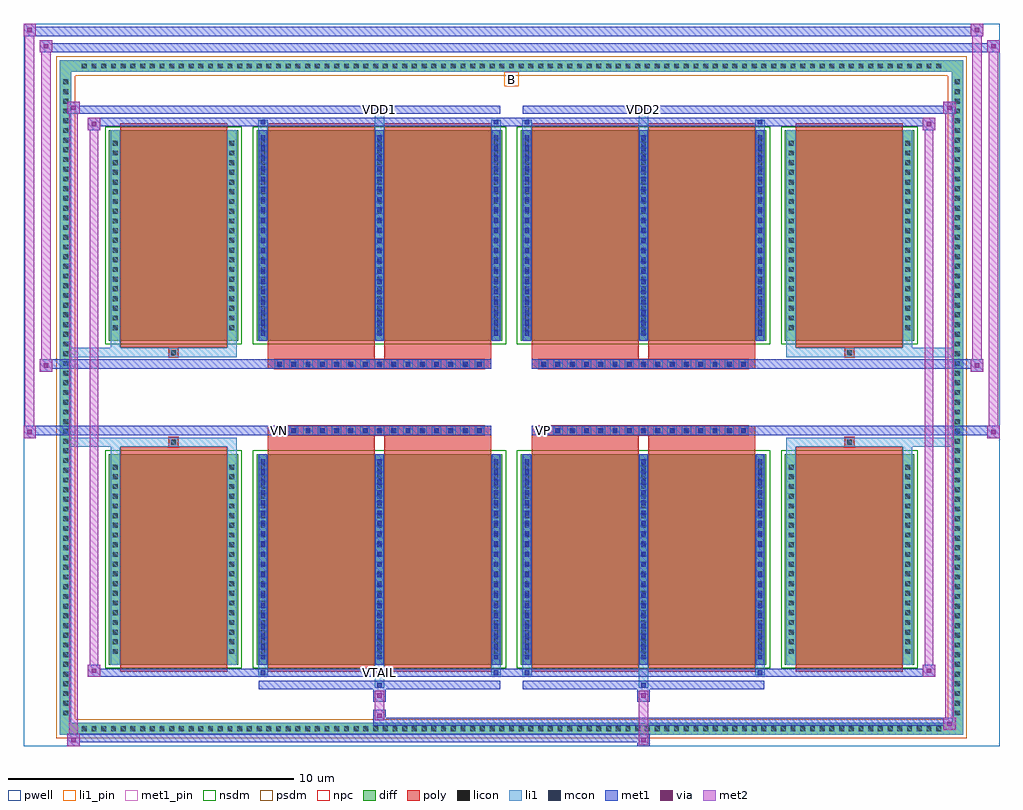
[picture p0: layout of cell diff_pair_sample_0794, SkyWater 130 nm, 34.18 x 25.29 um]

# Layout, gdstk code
import gdstk
lib = gdstk.Library(unit=1e-6, precision=5e-09)
def R(c, l, rs):  # rectangles x0, y0, x1, y1
    for r in rs: c.add(gdstk.rectangle(r[:2], r[2:], *l))
def A(c, l, x, y, w, h, nx, ny, dx, dy):  # array of equal rectangles
    R(c, l, [(x+i*dx, y+j*dy, x+i*dx+w, y+j*dy+h) for i in range(nx) for j in range(ny)])
def P(c, l, *ps):  # polygons
    for p in ps: c.add(gdstk.Polygon(p, *l))
pwell = (64, 44)
diff = (65, 20)
poly = (66, 20)
licon = (66, 44)
li1_pin = (67, 16)
li1 = (67, 20)
mcon = (67, 44)
met1_pin = (68, 16)
met1 = (68, 20)
via = (68, 44)
met2 = (69, 20)
nsdm = (93, 44)
psdm = (94, 20)
npc = (95, 20)

diff_pair_sample_0794 = lib.new_cell('diff_pair_sample_0794')
R(diff_pair_sample_0794, pwell, [(-17.09,-12.21,17.09,13.08), (-14.41,-10.4,-0.01,-0.8), (0.01,-10.4,14.41,-0.8), (-14.41,0.8,-0.01,10.4), (0.01,0.8,14.41,10.4)])
A(diff_pair_sample_0794, diff, -15.165, -11.81, 0.41, 0.41, 89, 2, 0.34, 23.21)
A(diff_pair_sample_0794, diff, -15.82, -11.255, 0.41, 0.41, 1, 66, 0, 0.34)
A(diff_pair_sample_0794, diff, 15.41, -11.255, 0.41, 0.41, 1, 66, 0, 0.34)
R(diff_pair_sample_0794, diff, [(-15.165,-11.81,15.165,-11.4), (-15.82,-11.255,-15.41,11.255), (15.41,-11.255,15.82,11.255), (-14.1,-9.355,-9.57,-1.985), (-8.93,-9.355,-0.32,-1.985), (0.32,-9.355,8.93,-1.985), (9.57,-9.355,14.1,-1.985), (-14.1,1.985,-9.57,9.355), (-8.93,1.985,-0.32,9.355), (0.32,1.985,8.93,9.355), (9.57,1.985,14.1,9.355), (-15.165,11.4,15.165,11.81)])
P(diff_pair_sample_0794, diff, [(15.82,11.81),(-15.82,11.81),(-15.82,-11.4),(-15.41,-11.4),(-15.41,11.4),(15.41,11.4),(15.41,-11.4),(-15.41,-11.4),(-15.82,-11.4),(-15.82,-11.81),(15.82,-11.81)])
A(diff_pair_sample_0794, poly, -8.29, -1.33, 0.33, 0.33, 15, 2, 0.5, 2.33)
A(diff_pair_sample_0794, poly, 0.96, -1.33, 0.33, 0.33, 15, 2, 0.5, 2.33)
R(diff_pair_sample_0794, poly, [(-13.71,-9.605,-9.96,-1.735), (-8.54,-9.605,-4.79,-1.735), (-4.46,-9.605,-0.71,-1.735), (0.71,-9.605,4.46,-1.735), (4.79,-9.605,8.54,-1.735), (9.96,-9.605,13.71,-1.735), (-12,-1.735,-11.67,-1.405), (-12,-1.735,-11.67,-1.405), (-8.54,-1.735,-4.79,-1.33), (-4.46,-1.735,-0.71,-1.33), (0.71,-1.735,4.46,-1.33), (4.79,-1.735,8.54,-1.33), (11.67,-1.735,12,-1.405), (11.67,-1.735,12,-1.405), (-8.54,-1.33,-0.71,-1), (0.71,-1.33,8.54,-1), (-8.54,1,-0.71,1.33), (0.71,1,8.54,1.33), (-8.54,1.33,-4.79,1.735), (-4.46,1.33,-0.71,1.735), (0.71,1.33,4.46,1.735), (4.79,1.33,8.54,1.735), (-12,1.405,-11.67,1.735), (-12,1.405,-11.67,1.735), (11.67,1.405,12,1.735), (11.67,1.405,12,1.735), (-13.71,1.735,-9.96,9.605), (-8.54,1.735,-4.79,9.605), (-4.46,1.735,-0.71,9.605), (0.71,1.735,4.46,9.605), (4.79,1.735,8.54,9.605), (9.96,1.735,13.71,9.605)])
A(diff_pair_sample_0794, licon, -15.045, -11.69, 0.17, 0.17, 89, 2, 0.34, 23.21)
A(diff_pair_sample_0794, licon, -15.7, -11.135, 0.17, 0.17, 1, 66, 0, 0.34)
A(diff_pair_sample_0794, licon, 15.53, -11.135, 0.17, 0.17, 1, 66, 0, 0.34)
A(diff_pair_sample_0794, licon, -13.96, -8.985, 0.17, 0.17, 1, 20, 0, 0.34)
A(diff_pair_sample_0794, licon, -9.88, -8.985, 0.17, 0.17, 1, 20, 0, 0.34)
A(diff_pair_sample_0794, licon, -8.79, -8.985, 0.17, 0.17, 3, 20, 4.08, 0.34)
A(diff_pair_sample_0794, licon, 0.46, -8.985, 0.17, 0.17, 3, 20, 4.08, 0.34)
A(diff_pair_sample_0794, licon, 9.71, -8.985, 0.17, 0.17, 1, 20, 0, 0.34)
A(diff_pair_sample_0794, licon, 13.79, -8.985, 0.17, 0.17, 1, 20, 0, 0.34)
A(diff_pair_sample_0794, licon, -8.21, -1.25, 0.17, 0.17, 15, 2, 0.5, 2.33)
A(diff_pair_sample_0794, licon, 1.04, -1.25, 0.17, 0.17, 15, 2, 0.5, 2.33)
A(diff_pair_sample_0794, licon, -13.96, 2.355, 0.17, 0.17, 1, 20, 0, 0.34)
A(diff_pair_sample_0794, licon, -9.88, 2.355, 0.17, 0.17, 1, 20, 0, 0.34)
A(diff_pair_sample_0794, licon, -8.79, 2.355, 0.17, 0.17, 3, 20, 4.08, 0.34)
A(diff_pair_sample_0794, licon, 0.46, 2.355, 0.17, 0.17, 3, 20, 4.08, 0.34)
A(diff_pair_sample_0794, licon, 9.71, 2.355, 0.17, 0.17, 1, 20, 0, 0.34)
A(diff_pair_sample_0794, licon, 13.79, 2.355, 0.17, 0.17, 1, 20, 0, 0.34)
R(diff_pair_sample_0794, licon, [(-11.92,-1.655,-11.75,-1.485), (11.75,-1.655,11.92,-1.485), (-11.92,1.485,-11.75,1.655), (11.75,1.485,11.92,1.655)])
R(diff_pair_sample_0794, li1_pin, [(-0.25,10.9,0.25,11.4)])
A(diff_pair_sample_0794, li1, -15.125, -11.77, 0.33, 0.33, 89, 2, 0.34, 23.21)
A(diff_pair_sample_0794, li1, -15.78, -11.215, 0.33, 0.33, 1, 66, 0, 0.34)
A(diff_pair_sample_0794, li1, 15.45, -11.215, 0.33, 0.33, 1, 66, 0, 0.34)
A(diff_pair_sample_0794, li1, -8.87, -9.355, 0.33, 7.37, 3, 2, 4.08, 11.34)
A(diff_pair_sample_0794, li1, 0.38, -9.355, 0.33, 7.37, 3, 2, 4.08, 11.34)
A(diff_pair_sample_0794, li1, -8.79, -9.175, 0.17, 0.17, 3, 20, 4.08, 0.36)
A(diff_pair_sample_0794, li1, -8.79, -9.175, 0.17, 7.01, 3, 2, 4.08, 11.34)
A(diff_pair_sample_0794, li1, 0.46, -9.175, 0.17, 0.17, 3, 20, 4.08, 0.36)
A(diff_pair_sample_0794, li1, 0.46, -9.175, 0.17, 7.01, 3, 2, 4.08, 11.34)
A(diff_pair_sample_0794, li1, -14.04, -9.065, 0.33, 0.33, 1, 20, 0, 0.34)
A(diff_pair_sample_0794, li1, -9.96, -9.065, 0.33, 0.33, 1, 20, 0, 0.34)
A(diff_pair_sample_0794, li1, -8.87, -9.065, 0.33, 0.33, 3, 20, 4.08, 0.34)
A(diff_pair_sample_0794, li1, 0.38, -9.065, 0.33, 0.33, 3, 20, 4.08, 0.34)
A(diff_pair_sample_0794, li1, 9.63, -9.065, 0.33, 0.33, 1, 20, 0, 0.34)
A(diff_pair_sample_0794, li1, 13.71, -9.065, 0.33, 0.33, 1, 20, 0, 0.34)
A(diff_pair_sample_0794, li1, -8.29, -1.33, 0.33, 0.33, 15, 2, 0.5, 2.33)
A(diff_pair_sample_0794, li1, 0.96, -1.33, 0.33, 0.33, 15, 2, 0.5, 2.33)
A(diff_pair_sample_0794, li1, -8.79, 2.165, 0.17, 0.17, 3, 20, 4.08, 0.36)
A(diff_pair_sample_0794, li1, 0.46, 2.165, 0.17, 0.17, 3, 20, 4.08, 0.36)
A(diff_pair_sample_0794, li1, -14.04, 2.275, 0.33, 0.33, 1, 20, 0, 0.34)
A(diff_pair_sample_0794, li1, -9.96, 2.275, 0.33, 0.33, 1, 20, 0, 0.34)
A(diff_pair_sample_0794, li1, -8.87, 2.275, 0.33, 0.33, 3, 20, 4.08, 0.34)
A(diff_pair_sample_0794, li1, 0.38, 2.275, 0.33, 0.33, 3, 20, 4.08, 0.34)
A(diff_pair_sample_0794, li1, 9.63, 2.275, 0.33, 0.33, 1, 20, 0, 0.34)
A(diff_pair_sample_0794, li1, 13.71, 2.275, 0.33, 0.33, 1, 20, 0, 0.34)
R(diff_pair_sample_0794, li1, [(-15.82,-11.81,-15.41,-11.4), (-15.82,-11.81,-15.41,-11.4), (-15.41,-11.81,15.41,-11.4), (15.41,-11.81,15.82,-11.4), (15.41,-11.81,15.82,-11.4), (-15.82,-11.4,-15.41,11.4), (15.41,-11.4,15.82,11.4), (-4.79,-10.16,-4.46,-9.355), (-4.71,-10.16,-4.54,-9.99), (4.46,-10.16,4.79,-9.355), (4.54,-10.16,4.71,-9.99), (-8.87,-9.73,-8.54,-9.355), (-8.79,-9.73,-8.62,-9.56), (-0.71,-9.73,-0.38,-9.355), (-0.63,-9.73,-0.46,-9.56), (0.38,-9.73,0.71,-9.355), (0.46,-9.73,0.63,-9.56), (8.54,-9.73,8.87,-9.355), (8.62,-9.73,8.79,-9.56), (-14.04,-9.355,-13.71,-1.985), (-9.96,-9.355,-9.63,-1.985), (9.63,-9.355,9.96,-1.985), (13.71,-9.355,14.04,-1.985), (-14.04,-1.985,-13.71,-1.405), (-9.96,-1.985,-9.63,-1.405), (9.63,-1.985,9.96,-1.405), (13.71,-1.985,14.04,-1.405), (-15.82,-1.735,-12,-1.405), (-14.04,-1.735,-12,-1.405), (-12,-1.735,-11.67,-1.405), (-11.67,-1.735,-9.63,-1.405), (9.63,-1.735,11.67,-1.405), (11.67,-1.735,12,-1.405), (11.67,-1.735,15.82,-1.405), (12,-1.735,14.04,-1.405), (-15.82,1.405,-12,1.735), (-14.04,1.405,-12,1.735), (-14.04,1.405,-13.71,1.985), (-12,1.405,-11.67,1.735), (-11.67,1.405,-9.63,1.735), (-9.96,1.405,-9.63,1.985), (9.63,1.405,11.67,1.735), (9.63,1.405,9.96,1.985), (11.67,1.405,12,1.735), (11.67,1.405,15.82,1.735), (12,1.405,14.04,1.735), (13.71,1.405,14.04,1.985), (-14.04,1.985,-13.71,9.355), (-9.96,1.985,-9.63,9.355), (9.63,1.985,9.96,9.355), (13.71,1.985,14.04,9.355), (-8.87,9.355,-8.54,9.73), (-4.79,9.355,-4.46,10.16), (-0.71,9.355,-0.38,9.73), (0.38,9.355,0.71,9.73), (4.46,9.355,4.79,10.16), (8.54,9.355,8.87,9.73), (-8.79,9.56,-8.62,9.73), (-0.63,9.56,-0.46,9.73), (0.46,9.56,0.63,9.73), (8.62,9.56,8.79,9.73), (-4.71,9.99,-4.54,10.16), (4.54,9.99,4.71,10.16), (-15.82,11.4,-15.41,11.81), (-15.82,11.4,-15.41,11.81), (-15.41,11.4,15.41,11.81), (15.41,11.4,15.82,11.81), (15.41,11.4,15.82,11.81)])
A(diff_pair_sample_0794, mcon, -8.79, -9.175, 0.17, 0.17, 3, 20, 4.08, 0.36)
A(diff_pair_sample_0794, mcon, 0.46, -9.175, 0.17, 0.17, 3, 20, 4.08, 0.36)
A(diff_pair_sample_0794, mcon, -8.21, -1.25, 0.17, 0.17, 15, 2, 0.5, 2.33)
A(diff_pair_sample_0794, mcon, 1.04, -1.25, 0.17, 0.17, 15, 2, 0.5, 2.33)
A(diff_pair_sample_0794, mcon, -8.79, 2.165, 0.17, 0.17, 3, 20, 4.08, 0.36)
A(diff_pair_sample_0794, mcon, 0.46, 2.165, 0.17, 0.17, 3, 20, 4.08, 0.36)
R(diff_pair_sample_0794, mcon, [(-4.71,-10.16,-4.54,-9.99), (4.54,-10.16,4.71,-9.99), (-8.79,-9.73,-8.62,-9.56), (-0.63,-9.73,-0.46,-9.56), (0.46,-9.73,0.63,-9.56), (8.62,-9.73,8.79,-9.56), (-8.79,9.56,-8.62,9.73), (-0.63,9.56,-0.46,9.73), (0.46,9.56,0.63,9.73), (8.62,9.56,8.79,9.73), (-4.71,9.99,-4.54,10.16), (4.54,9.99,4.71,10.16)])
R(diff_pair_sample_0794, met1_pin, [(-4.76,-9.77,-4.49,-9.5), (-8.26,-1.29,-7.99,-1.02), (0.99,-1.29,1.26,-1.02), (-4.76,9.95,-4.49,10.22), (4.49,9.95,4.76,10.22)])
A(diff_pair_sample_0794, met1, -8.85, -9.355, 0.29, 7.37, 3, 2, 4.08, 11.34)
A(diff_pair_sample_0794, met1, 0.4, -9.355, 0.29, 7.37, 3, 2, 4.08, 11.34)
A(diff_pair_sample_0794, met1, -8.85, -9.235, 0.29, 0.29, 3, 20, 4.08, 0.36)
A(diff_pair_sample_0794, met1, 0.4, -9.235, 0.29, 0.29, 3, 20, 4.08, 0.36)
A(diff_pair_sample_0794, met1, -8.27, -1.31, 0.29, 0.29, 15, 2, 0.5, 2.33)
A(diff_pair_sample_0794, met1, 0.98, -1.31, 0.29, 0.29, 15, 2, 0.5, 2.33)
A(diff_pair_sample_0794, met1, -8.85, 2.105, 0.29, 0.29, 3, 20, 4.08, 0.36)
A(diff_pair_sample_0794, met1, 0.4, 2.105, 0.29, 0.29, 3, 20, 4.08, 0.36)
R(diff_pair_sample_0794, met1, [(-15.55,-12.21,-15.12,-11.78), (4.41,-12.21,4.84,-11.78), (-15.55,-12.07,4.84,-11.78), (15.12,-11.64,15.55,-11.21), (-4.84,-11.5,15.55,-11.21), (-4.84,-11.36,-4.41,-10.93), (-4.84,-10.65,-4.41,-10.22), (4.41,-10.65,4.84,-10.22), (-8.85,-10.22,-0.4,-9.93), (-4.77,-10.22,-4.48,-9.93), (0.4,-10.22,8.85,-9.93), (4.48,-10.22,4.77,-9.93), (-14.84,-9.79,-14.41,-9.36), (-14.84,-9.79,-8.85,-9.5), (-8.85,-9.79,-8.56,-9.5), (-8.85,-9.79,-0.4,-9.5), (-0.69,-9.79,-0.4,-9.5), (-0.4,-9.79,0.4,-9.5), (0.4,-9.79,0.69,-9.5), (0.4,-9.79,8.85,-9.5), (8.56,-9.79,8.85,-9.5), (8.85,-9.79,14.84,-9.5), (14.41,-9.79,14.84,-9.36), (-17.09,-1.43,-16.66,-1), (16.66,-1.43,17.09,-1), (-17.09,-1.33,-0.71,-1), (-8.54,-1.33,-0.71,-1), (0.71,-1.33,8.54,-1), (0.71,-1.33,17.09,-1), (-16.52,0.9,-16.09,1.33), (16.09,0.9,16.52,1.33), (-16.52,1,-8.54,1.33), (-8.54,1,-0.71,1.33), (0.71,1,8.54,1.33), (8.54,1,16.52,1.33), (-14.84,9.36,-14.41,9.79), (14.41,9.36,14.84,9.79), (-14.84,9.5,-8.85,9.79), (-8.85,9.5,-8.56,9.79), (-8.85,9.5,-0.4,9.79), (-0.69,9.5,-0.4,9.79), (-0.4,9.5,0.4,9.79), (0.4,9.5,0.69,9.79), (0.4,9.5,8.85,9.79), (8.56,9.5,8.85,9.79), (8.85,9.5,14.84,9.79), (-15.55,9.93,-15.12,10.36), (-15.55,9.93,-8.85,10.22), (-8.85,9.93,-0.4,10.22), (-4.77,9.93,-4.48,10.22), (0.4,9.93,8.85,10.22), (4.48,9.93,4.77,10.22), (8.85,9.93,15.55,10.22), (15.12,9.93,15.55,10.36), (-16.52,12.08,-16.09,12.51), (-16.52,12.08,-14.41,12.41), (-14.41,12.08,14.41,12.41), (14.41,12.08,17.09,12.41), (16.66,12.08,17.09,12.51), (-17.09,12.65,-16.66,13.08), (-17.09,12.65,-14.41,12.98), (-14.41,12.65,14.41,12.98), (14.41,12.65,16.52,12.98), (16.09,12.65,16.52,13.08)])
R(diff_pair_sample_0794, via, [(-15.41,-12.07,-15.26,-11.92), (4.55,-12.07,4.7,-11.92), (15.26,-11.5,15.41,-11.35), (-4.7,-11.22,-4.55,-11.07), (-4.7,-10.51,-4.55,-10.36), (4.55,-10.51,4.7,-10.36), (-14.7,-9.65,-14.55,-9.5), (14.55,-9.65,14.7,-9.5), (-16.95,-1.29,-16.8,-1.14), (16.8,-1.29,16.95,-1.14), (-16.38,1.04,-16.23,1.19), (16.23,1.04,16.38,1.19), (-14.7,9.5,-14.55,9.65), (14.55,9.5,14.7,9.65), (-15.41,10.07,-15.26,10.22), (15.26,10.07,15.41,10.22), (-16.38,12.22,-16.23,12.37), (16.8,12.22,16.95,12.37), (-16.95,12.79,-16.8,12.94), (16.23,12.79,16.38,12.94)])
R(diff_pair_sample_0794, met2, [(-15.55,-12.21,-15.12,-11.78), (-15.48,-12.21,-15.19,10.36), (-15.19,-12.21,-15.12,-11.78), (-15.5,-12.16,-15.17,-11.83), (4.46,-12.16,4.79,-11.83), (4.46,-11.83,4.79,-10.6), (15.12,-11.64,15.55,-11.21), (15.19,-11.64,15.48,10.36), (15.48,-11.64,15.55,-11.21), (15.17,-11.59,15.5,-11.26), (-4.79,-11.31,-4.46,-10.98), (-4.79,-10.98,-4.46,-10.6), (-4.79,-10.6,-4.46,-10.27), (4.46,-10.6,4.79,-10.27), (-14.84,-9.79,-14.41,-9.36), (-14.77,-9.79,-14.48,9.79), (-14.48,-9.79,-14.41,-9.36), (14.41,-9.79,14.84,-9.36), (14.48,-9.79,14.77,9.79), (14.77,-9.79,14.84,-9.36), (-14.79,-9.74,-14.46,-9.41), (14.46,-9.74,14.79,-9.41), (-17.09,-1.43,-16.66,-1), (-17.04,-1.43,-16.71,13.08), (-16.71,-1.43,-16.66,-1), (16.66,-1.43,17.09,-1), (16.71,-1.43,17.04,12.51), (17.04,-1.43,17.09,-1), (-17.04,-1.38,-16.71,-1.05), (16.71,-1.38,17.04,-1.05), (-16.52,0.9,-16.09,1.33), (-16.47,0.9,-16.14,12.51), (-16.14,0.9,-16.09,1.33), (16.09,0.9,16.52,1.33), (16.14,0.9,16.47,13.08), (16.47,0.9,16.52,1.33), (-16.47,0.95,-16.14,1.28), (16.14,0.95,16.47,1.28), (-14.84,9.36,-14.41,9.79), (-14.48,9.36,-14.41,9.79), (14.41,9.36,14.84,9.79), (14.77,9.36,14.84,9.79), (-14.79,9.41,-14.46,9.74), (14.46,9.41,14.79,9.74), (-15.55,9.93,-15.12,10.36), (-15.19,9.93,-15.12,10.36), (15.12,9.93,15.55,10.36), (15.48,9.93,15.55,10.36), (-15.5,9.98,-15.17,10.31), (15.17,9.98,15.5,10.31), (-16.52,12.08,-16.09,12.51), (-16.14,12.08,-16.09,12.51), (16.66,12.08,17.09,12.51), (17.04,12.08,17.09,12.51), (-16.47,12.13,-16.14,12.46), (16.71,12.13,17.04,12.46), (-17.09,12.65,-16.66,13.08), (-16.71,12.65,-16.66,13.08), (16.09,12.65,16.52,13.08), (16.47,12.65,16.52,13.08), (-17.04,12.7,-16.71,13.03), (16.14,12.7,16.47,13.03)])
R(diff_pair_sample_0794, nsdm, [(-14.23,-9.485,-9.44,-1.855), (-9.06,-9.485,-0.19,-1.855), (0.19,-9.485,9.06,-1.855), (9.44,-9.485,14.23,-1.855), (-14.23,1.855,-9.44,9.485), (-9.06,1.855,-0.19,9.485), (0.19,1.855,9.06,9.485), (9.44,1.855,14.23,9.485)])
P(diff_pair_sample_0794, psdm, [(15.95,11.94),(-15.95,11.94),(-15.95,-11.27),(-15.28,-11.27),(-15.28,11.27),(15.28,11.27),(15.28,-11.27),(-15.28,-11.27),(-15.95,-11.27),(-15.95,-11.94),(15.95,-11.94)])
A(diff_pair_sample_0794, npc, -8.31, -1.35, 0.37, 0.37, 15, 2, 0.5, 2.33)
A(diff_pair_sample_0794, npc, 0.94, -1.35, 0.37, 0.37, 15, 2, 0.5, 2.33)
R(diff_pair_sample_0794, npc, [(-12.02,-1.755,-11.65,-1.385), (11.65,-1.755,12.02,-1.385), (-8.31,-1.35,-7.44,-0.98), (-8.31,-1.35,-7.44,-0.98), (-7.81,-1.35,-6.94,-0.98), (-7.81,-1.35,-6.94,-0.98), (-7.31,-1.35,-6.44,-0.98), (-7.31,-1.35,-6.44,-0.98), (-6.81,-1.35,-5.94,-0.98), (-6.81,-1.35,-5.94,-0.98), (-6.31,-1.35,-5.44,-0.98), (-6.31,-1.35,-5.44,-0.98), (-5.81,-1.35,-4.94,-0.98), (-5.81,-1.35,-4.94,-0.98), (-5.31,-1.35,-4.44,-0.98), (-5.31,-1.35,-4.44,-0.98), (-4.81,-1.35,-3.94,-0.98), (-4.81,-1.35,-3.94,-0.98), (-4.31,-1.35,-3.44,-0.98), (-4.31,-1.35,-3.44,-0.98), (-3.81,-1.35,-2.94,-0.98), (-3.81,-1.35,-2.94,-0.98), (-3.31,-1.35,-2.44,-0.98), (-3.31,-1.35,-2.44,-0.98), (-2.81,-1.35,-1.94,-0.98), (-2.81,-1.35,-1.94,-0.98), (-2.31,-1.35,-1.44,-0.98), (-2.31,-1.35,-1.44,-0.98), (-1.81,-1.35,-0.94,-0.98), (-1.81,-1.35,-0.94,-0.98), (0.94,-1.35,1.81,-0.98), (0.94,-1.35,1.81,-0.98), (1.44,-1.35,2.31,-0.98), (1.44,-1.35,2.31,-0.98), (1.94,-1.35,2.81,-0.98), (1.94,-1.35,2.81,-0.98), (2.44,-1.35,3.31,-0.98), (2.44,-1.35,3.31,-0.98), (2.94,-1.35,3.81,-0.98), (2.94,-1.35,3.81,-0.98), (3.44,-1.35,4.31,-0.98), (3.44,-1.35,4.31,-0.98), (3.94,-1.35,4.81,-0.98), (3.94,-1.35,4.81,-0.98), (4.44,-1.35,5.31,-0.98), (4.44,-1.35,5.31,-0.98), (4.94,-1.35,5.81,-0.98), (4.94,-1.35,5.81,-0.98), (5.44,-1.35,6.31,-0.98), (5.44,-1.35,6.31,-0.98), (5.94,-1.35,6.81,-0.98), (5.94,-1.35,6.81,-0.98), (6.44,-1.35,7.31,-0.98), (6.44,-1.35,7.31,-0.98), (6.94,-1.35,7.81,-0.98), (6.94,-1.35,7.81,-0.98), (7.44,-1.35,8.31,-0.98), (7.44,-1.35,8.31,-0.98), (-8.31,0.98,-7.44,1.35), (-8.31,0.98,-7.44,1.35), (-7.81,0.98,-6.94,1.35), (-7.81,0.98,-6.94,1.35), (-7.31,0.98,-6.44,1.35), (-7.31,0.98,-6.44,1.35), (-6.81,0.98,-5.94,1.35), (-6.81,0.98,-5.94,1.35), (-6.31,0.98,-5.44,1.35), (-6.31,0.98,-5.44,1.35), (-5.81,0.98,-4.94,1.35), (-5.81,0.98,-4.94,1.35), (-5.31,0.98,-4.44,1.35), (-5.31,0.98,-4.44,1.35), (-4.81,0.98,-3.94,1.35), (-4.81,0.98,-3.94,1.35), (-4.31,0.98,-3.44,1.35), (-4.31,0.98,-3.44,1.35), (-3.81,0.98,-2.94,1.35), (-3.81,0.98,-2.94,1.35), (-3.31,0.98,-2.44,1.35), (-3.31,0.98,-2.44,1.35), (-2.81,0.98,-1.94,1.35), (-2.81,0.98,-1.94,1.35), (-2.31,0.98,-1.44,1.35), (-2.31,0.98,-1.44,1.35), (-1.81,0.98,-0.94,1.35), (-1.81,0.98,-0.94,1.35), (0.94,0.98,1.81,1.35), (0.94,0.98,1.81,1.35), (1.44,0.98,2.31,1.35), (1.44,0.98,2.31,1.35), (1.94,0.98,2.81,1.35), (1.94,0.98,2.81,1.35), (2.44,0.98,3.31,1.35), (2.44,0.98,3.31,1.35), (2.94,0.98,3.81,1.35), (2.94,0.98,3.81,1.35), (3.44,0.98,4.31,1.35), (3.44,0.98,4.31,1.35), (3.94,0.98,4.81,1.35), (3.94,0.98,4.81,1.35), (4.44,0.98,5.31,1.35), (4.44,0.98,5.31,1.35), (4.94,0.98,5.81,1.35), (4.94,0.98,5.81,1.35), (5.44,0.98,6.31,1.35), (5.44,0.98,6.31,1.35), (5.94,0.98,6.81,1.35), (5.94,0.98,6.81,1.35), (6.44,0.98,7.31,1.35), (6.44,0.98,7.31,1.35), (6.94,0.98,7.81,1.35), (6.94,0.98,7.81,1.35), (7.44,0.98,8.31,1.35), (7.44,0.98,8.31,1.35), (-12.02,1.385,-11.65,1.755), (11.65,1.385,12.02,1.755)])
diff_pair_sample_0794.add(gdstk.Label('VTAIL', (-4.625,-9.635), layer=68, texttype=5))
diff_pair_sample_0794.add(gdstk.Label('VN', (-8.125,-1.155), layer=68, texttype=5))
diff_pair_sample_0794.add(gdstk.Label('VP', (1.125,-1.155), layer=68, texttype=5))
diff_pair_sample_0794.add(gdstk.Label('B', (0,11.15), layer=67, texttype=5))
diff_pair_sample_0794.add(gdstk.Label('VDD2', (4.625,10.085), layer=68, texttype=5))
diff_pair_sample_0794.add(gdstk.Label('VDD1', (-4.625,10.085), layer=68, texttype=5))

lib.write_gds('diff_pair_sample_0794.gds')
